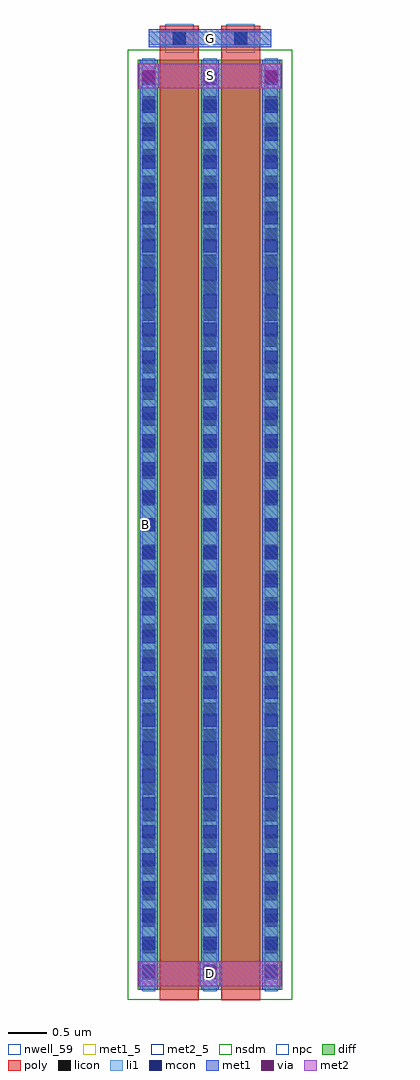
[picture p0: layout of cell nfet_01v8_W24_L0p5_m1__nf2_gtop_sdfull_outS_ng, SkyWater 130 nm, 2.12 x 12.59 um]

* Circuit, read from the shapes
.subckt nfet_01v8_W24_L0p5_m1__nf2_gtop_sdfull_outS_ng B D G S
XM1 D G S B sky130_fd_pr__nfet_01v8 w=12 l=0.5 m=2
.ends

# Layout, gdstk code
import gdstk
lib = gdstk.Library(unit=1e-6, precision=1e-09)
def R(c, l, rs):  # rectangles x0, y0, x1, y1
    for r in rs: c.add(gdstk.rectangle(r[:2], r[2:], *l))
def A(c, l, x, y, w, h, nx, ny, dx, dy):  # array of equal rectangles
    R(c, l, [(x+i*dx, y+j*dy, x+i*dx+w, y+j*dy+h) for i in range(nx) for j in range(ny)])
nwell_59 = (64, 59)
diff = (65, 20)
poly = (66, 20)
licon = (66, 44)
li1 = (67, 20)
mcon = (67, 44)
met1_5 = (68, 5)
met1 = (68, 20)
via = (68, 44)
met2_5 = (69, 5)
met2 = (69, 20)
nsdm = (93, 44)
npc = (95, 20)

sky130_fd_pr__nfet_01v8_ = lib.new_cell('sky130_fd_pr__nfet_01v8_CLRSRR')
R(sky130_fd_pr__nfet_01v8_, diff, [(-0.935,-6.155,0.935,5.845)])
R(sky130_fd_pr__nfet_01v8_, poly, [(-0.645,-6.285,-0.145,6.285), (0.145,-6.285,0.645,6.285)])
A(sky130_fd_pr__nfet_01v8_, licon, -0.875, -6.02, 0.17, 0.17, 3, 35, 0.79, 0.34)
R(sky130_fd_pr__nfet_01v8_, licon, [(-0.48,6.035,-0.31,6.205), (0.31,6.035,0.48,6.205)])
A(sky130_fd_pr__nfet_01v8_, li1, -0.875, -6.175, 0.17, 12.04, 3, 1, 0.79, 0)
R(sky130_fd_pr__nfet_01v8_, li1, [(-0.79,6.035,0.79,6.205)])
A(sky130_fd_pr__nfet_01v8_, mcon, -0.875, -6, 0.17, 0.17, 3, 33, 0.79, 0.36)
R(sky130_fd_pr__nfet_01v8_, mcon, [(-0.48,6.035,-0.31,6.205), (0.31,6.035,0.48,6.205)])
A(sky130_fd_pr__nfet_01v8_, met1, -0.905, -6.155, 0.23, 12, 3, 1, 0.79, 0)
R(sky130_fd_pr__nfet_01v8_, met1, [(-0.625,6.005,-0.165,6.035), (0.165,6.005,0.625,6.035), (-0.79,6.035,0.79,6.205), (-0.625,6.205,-0.165,6.235), (0.165,6.205,0.625,6.235)])
R(sky130_fd_pr__nfet_01v8_, nsdm, [(-1.06,-6.28,1.06,5.97)])
R(sky130_fd_pr__nfet_01v8_, npc, [(-0.58,5.935,-0.21,6.305), (0.21,5.935,0.58,6.305)])
sky130_fd_pr__nfet_01v8_.add(gdstk.Label('D0', (-0.79,-0.155), layer=67, texttype=5))
sky130_fd_pr__nfet_01v8_.add(gdstk.Label('G', (0.395,6.12), layer=67, texttype=5))
sky130_fd_pr__nfet_01v8_.add(gdstk.Label('G', (-0.395,6.12), layer=67, texttype=5))
sky130_fd_pr__nfet_01v8_.add(gdstk.Label('S1', (0,-0.155), layer=67, texttype=5))

nfet_01v8_w24_l0p5_m1__n = lib.new_cell('nfet_01v8_W24_L0p5_m1__nf2_gtop_sdfull_outS_ng')
R(nfet_01v8_w24_l0p5_m1__n, nwell_59, [(0.05,6.08,0.15,6.18)])
R(nfet_01v8_w24_l0p5_m1__n, met1_5, [(0.145,12.29,1.725,12.52)])
R(nfet_01v8_w24_l0p5_m1__n, met1, [(0.805,0.18,1.065,0.5), (0.015,11.76,0.275,12.08), (1.595,11.76,1.855,12.08), (0.145,12.29,1.725,12.52)])
R(nfet_01v8_w24_l0p5_m1__n, via, [(0.86,0.265,1.01,0.415), (0.07,11.845,0.22,11.995), (1.65,11.845,1.8,11.995)])
R(nfet_01v8_w24_l0p5_m1__n, met2_5, [(0.01,0.18,1.86,0.5), (0.01,11.76,1.86,12.08)])
R(nfet_01v8_w24_l0p5_m1__n, met2, [(0.01,0.18,1.86,0.5), (0.01,11.76,1.86,12.08)])
nfet_01v8_w24_l0p5_m1__n.add(gdstk.Reference(sky130_fd_pr__nfet_01v8_, (0.935,6.285)))
nfet_01v8_w24_l0p5_m1__n.add(gdstk.Label('S', (0.935,11.92), layer=69, texttype=5))
nfet_01v8_w24_l0p5_m1__n.add(gdstk.Label('D', (0.935,0.34), layer=69, texttype=5))
nfet_01v8_w24_l0p5_m1__n.add(gdstk.Label('G', (0.935,12.405), layer=68, texttype=5))
nfet_01v8_w24_l0p5_m1__n.add(gdstk.Label('B', (0.1,6.13), layer=64, texttype=59))

lib.write_gds('nfet_01v8_W24_L0p5_m1__nf2_gtop_sdfull_outS_ng.gds')
